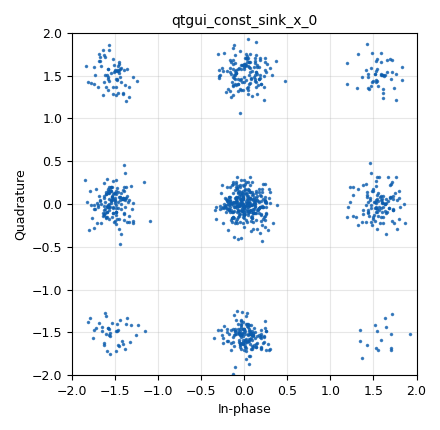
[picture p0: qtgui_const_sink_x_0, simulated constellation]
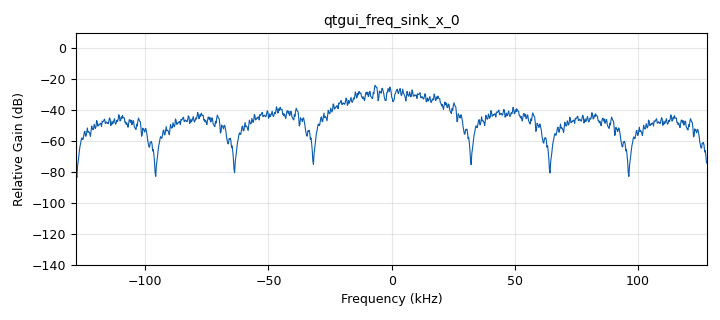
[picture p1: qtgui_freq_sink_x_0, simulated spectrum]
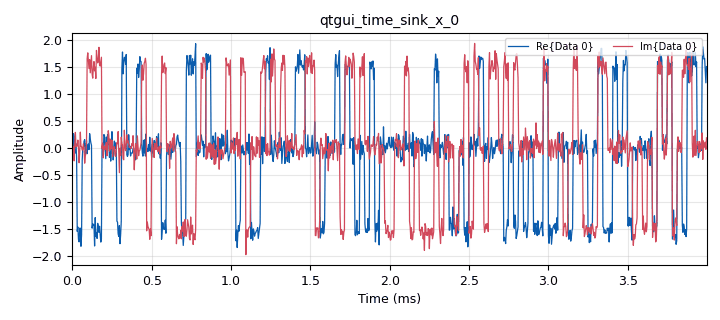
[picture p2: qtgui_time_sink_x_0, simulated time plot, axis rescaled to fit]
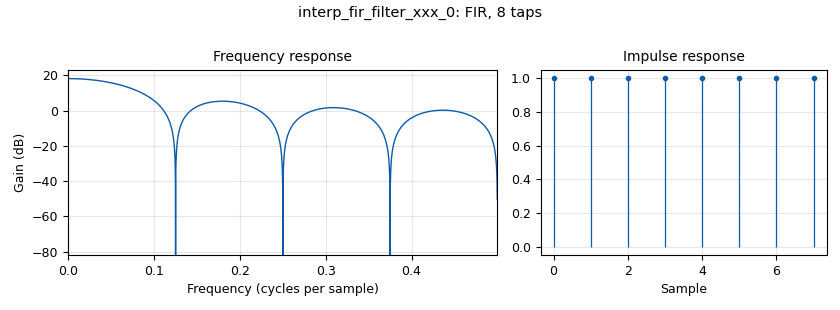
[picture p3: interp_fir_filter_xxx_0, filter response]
options:
  parameters:
    generate_options: qt_gui
    id: Primer
    output_language: python
    title: Not titled yet
  states: {}

blocks:
- name: M
  id: variable
  parameters:
    value: len(tabla_de_verdad_constelacion)
  states: {}
- name: Rb
  id: variable
  parameters:
    value: Rs*bps
  states: {}
- name: Rs
  id: variable
  parameters:
    value: '32000'
  states: {}
- name: bps
  id: variable
  parameters:
    value: int(math.log(M,2))
  states: {}
- name: h
  id: variable
  parameters:
    value: '[1]*sps'
  states: {}
- name: samp_rate
  id: variable
  parameters:
    value: Rs*sps
  states: {}
- name: sps
  id: variable
  parameters:
    value: '8'
  states: {}
- name: tabla_de_verdad_constelacion
  id: variable
  parameters:
    value: (0.77+0.77j,-0.77+0.77j,-0.77-0.77j,0.77-0.77j)
  states: {}
- name: analog_noise_source_x_0
  id: analog_noise_source_x
  parameters:
    amp: '0.2'
    noise_type: analog.GR_GAUSSIAN
    seed: '0'
    type: complex
  states: {}
- name: analog_random_source_x_0
  id: analog_random_source_x
  parameters:
    max: '2'
    min: '0'
    num_samps: '1000'
    repeat: 'True'
    type: byte
  states: {}
- name: analog_random_source_x_0_0
  id: analog_random_source_x
  parameters:
    max: '2'
    min: '0'
    num_samps: '1000'
    repeat: 'True'
    type: byte
  states: {}
- name: blocks_add_xx_0
  id: blocks_add_xx
  parameters:
    num_inputs: '3'
    type: complex
  states: {}
- name: blocks_pack_k_bits_bb_0
  id: blocks_pack_k_bits_bb
  parameters:
    k: '8'
  states: {}
- name: blocks_pack_k_bits_bb_0_0
  id: blocks_pack_k_bits_bb
  parameters:
    k: '8'
  states: {}
- name: blocks_packed_to_unpacked_xx_0
  id: blocks_packed_to_unpacked_xx
  parameters:
    bits_per_chunk: bps
    endianness: gr.GR_MSB_FIRST
    type: byte
  states: {}
- name: blocks_packed_to_unpacked_xx_0_0
  id: blocks_packed_to_unpacked_xx
  parameters:
    bits_per_chunk: bps
    endianness: gr.GR_MSB_FIRST
    type: byte
  states: {}
- name: digital_chunks_to_symbols_xx_0
  id: digital_chunks_to_symbols_xx
  parameters:
    dimension: '1'
    in_type: byte
    num_ports: '2'
    out_type: complex
    symbol_table: tabla_de_verdad_constelacion
  states: {}
- name: import_0
  id: import
  parameters:
    imports: import math
  states: {}
- name: interp_fir_filter_xxx_0
  id: interp_fir_filter_xxx
  parameters:
    interp: sps
    taps: h
    type: ccf
  states: {}
- name: interp_fir_filter_xxx_0_0
  id: interp_fir_filter_xxx
  parameters:
    interp: sps
    taps: h
    type: ccf
  states: {}
- name: qtgui_const_sink_x_0
  id: qtgui_const_sink_x
  parameters:
    size: '1024'
    type: complex
  states: {}
- name: qtgui_freq_sink_x_0
  id: qtgui_freq_sink_x
  parameters:
    average: '0.05'
    bw: samp_rate
    fc: '0'
    fftsize: '1024'
    type: complex
  states: {}
- name: qtgui_time_sink_x_0
  id: qtgui_time_sink_x
  parameters:
    size: '1024'
    srate: samp_rate
    type: complex
  states: {}
- name: virtual_sink_0
  id: virtual_sink
  parameters: {}
  states: {}
- name: virtual_source_0
  id: virtual_source
  parameters: {}
  states: {}

connections:
- [analog_noise_source_x_0, '0', blocks_add_xx_0, '2']
- [analog_random_source_x_0, '0', blocks_pack_k_bits_bb_0, '0']
- [analog_random_source_x_0_0, '0', blocks_pack_k_bits_bb_0_0, '0']
- [blocks_add_xx_0, '0', virtual_sink_0, '0']
- [blocks_pack_k_bits_bb_0, '0', blocks_packed_to_unpacked_xx_0, '0']
- [blocks_pack_k_bits_bb_0_0, '0', blocks_packed_to_unpacked_xx_0_0, '0']
- [blocks_packed_to_unpacked_xx_0, '0', digital_chunks_to_symbols_xx_0, '0']
- [blocks_packed_to_unpacked_xx_0_0, '0', digital_chunks_to_symbols_xx_0, '1']
- [digital_chunks_to_symbols_xx_0, '0', interp_fir_filter_xxx_0, '0']
- [digital_chunks_to_symbols_xx_0, '1', interp_fir_filter_xxx_0_0, '0']
- [interp_fir_filter_xxx_0, '0', blocks_add_xx_0, '0']
- [interp_fir_filter_xxx_0, '0', qtgui_freq_sink_x_0, '0']
- [interp_fir_filter_xxx_0_0, '0', blocks_add_xx_0, '1']
- [virtual_source_0, '0', qtgui_const_sink_x_0, '0']
- [virtual_source_0, '0', qtgui_time_sink_x_0, '0']

metadata:
  file_format: 1
  grc_version: 3.10.7.0
